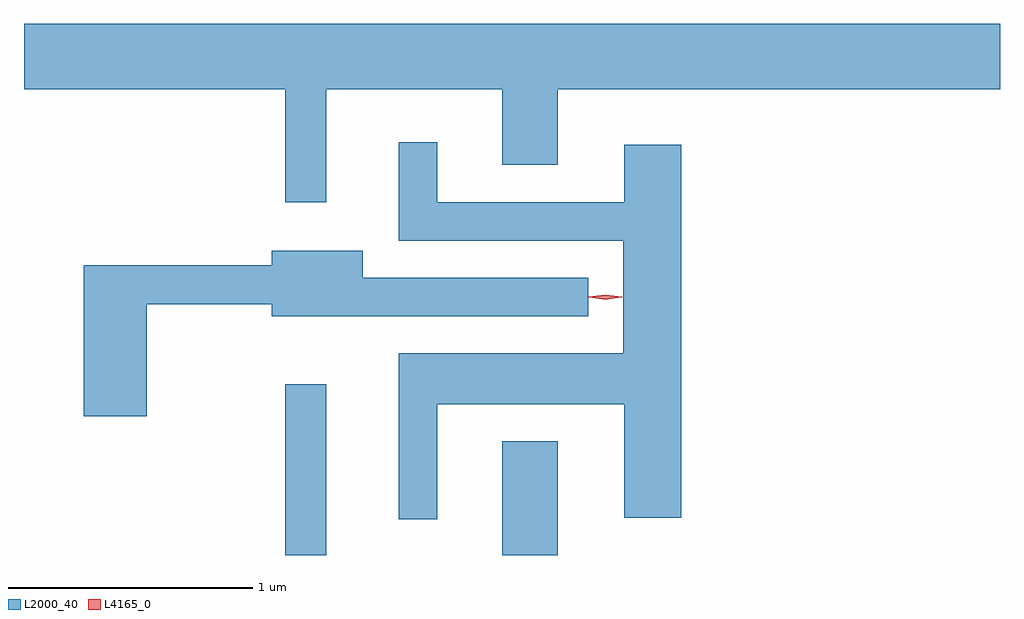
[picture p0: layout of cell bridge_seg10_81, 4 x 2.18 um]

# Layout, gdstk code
import gdstk
lib = gdstk.Library(unit=1e-6, precision=1e-09)
def R(c, l, rs):  # rectangles x0, y0, x1, y1
    for r in rs: c.add(gdstk.rectangle(r[:2], r[2:], *l))
def P(c, l, *ps):  # polygons
    for p in ps: c.add(gdstk.Polygon(p, *l))
L2000_40 = (2000, 40)
L4165_0 = (4165, 0)

bridge_seg10_81 = lib.new_cell('bridge_seg10_81')
R(bridge_seg10_81, L2000_40, [(1547.721,2185.267,1547.889,2185.968), (1548.611,2185.267,1548.839,2185.734)])
P(bridge_seg10_81, L2000_40, [(1547.889,2187.176),(1548.611,2187.176),(1548.611,2186.866),(1548.839,2186.866),(1548.839,2187.176),(1550.651,2187.176),(1550.651,2187.444),(1546.651,2187.444),(1546.651,2187.176),(1547.721,2187.176),(1547.721,2186.713),(1547.889,2186.713)],
  [(1548.344,2185.886),(1549.111,2185.886),(1549.111,2185.421),(1549.344,2185.421),(1549.344,2186.949),(1549.111,2186.949),(1549.111,2186.714),(1548.344,2186.714),(1548.344,2186.958),(1548.186,2186.958),(1548.186,2186.556),(1549.106,2186.556),(1549.106,2186.094),(1548.186,2186.094),(1548.186,2185.413),(1548.344,2185.413)],
  [(1547.154,2186.296),(1547.666,2186.296),(1547.666,2186.246),(1548.963,2186.246),(1548.963,2186.404),(1548.039,2186.404),(1548.039,2186.514),(1547.666,2186.514),(1547.666,2186.454),(1546.896,2186.454),(1546.896,2185.836),(1547.154,2185.836)])
P(bridge_seg10_81, L4165_0, [(1549.033,2186.315),(1548.964,2186.324),(1548.964,2186.325),(1548.964,2186.325),(1549.033,2186.335),(1549.102,2186.325),(1549.102,2186.325),(1549.102,2186.324)],
  [(1549.033,2186.314),(1548.967,2186.323),(1548.967,2186.324),(1548.967,2186.324),(1549.033,2186.334),(1549.099,2186.324),(1549.099,2186.324),(1549.099,2186.323)])

lib.write_gds('bridge_seg10_81.gds')
